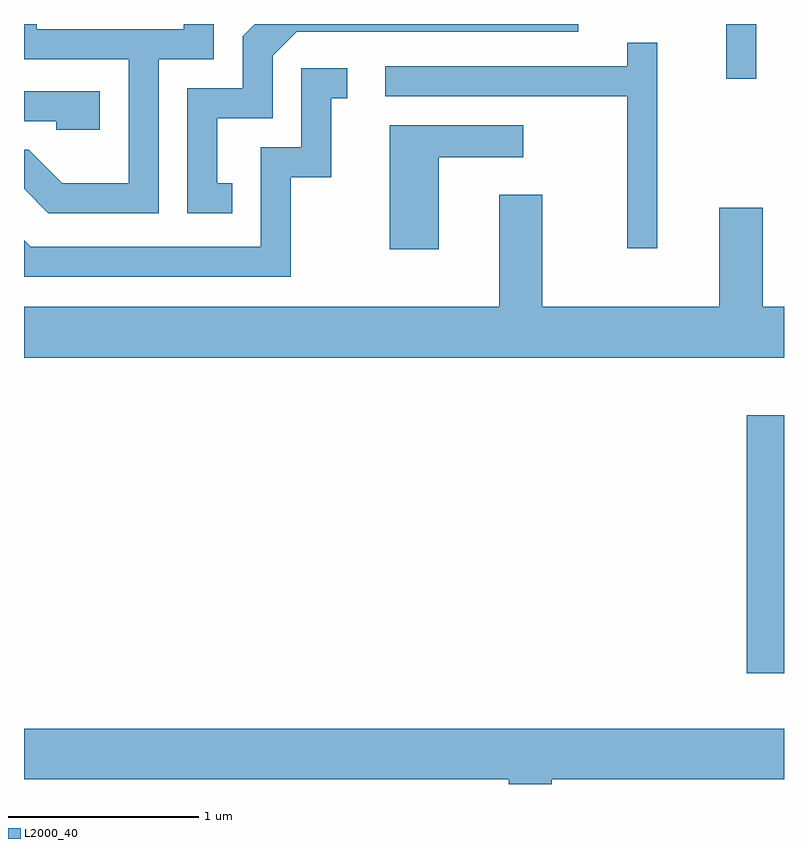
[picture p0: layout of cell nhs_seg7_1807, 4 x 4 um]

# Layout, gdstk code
import gdstk
lib = gdstk.Library(unit=1e-6, precision=1e-09)
def R(c, l, rs):  # rectangles x0, y0, x1, y1
    for r in rs: c.add(gdstk.rectangle(r[:2], r[2:], *l))
def P(c, l, *ps):  # polygons
    for p in ps: c.add(gdstk.Polygon(p, *l))
L2000_40 = (2000, 40)

nhs_seg7_1807 = lib.new_cell('nhs_seg7_1807')
R(nhs_seg7_1807, L2000_40, [(243.416,1754.836,243.611,1756.194), (243.306,1757.963,243.464,1758.252)])
P(nhs_seg7_1807, L2000_40, [(240.319,1758.066),(240.609,1758.066),(240.609,1758.252),(240.451,1758.252),(240.451,1758.224),(239.679,1758.224),(239.679,1758.252),(239.611,1758.252),(239.611,1758.066),(240.161,1758.066),(240.161,1757.414),(239.812,1757.414),(239.637,1757.589),(239.611,1757.589),(239.611,1757.384),(239.739,1757.256),(240.319,1757.256)],
  [(240.708,1757.414),(240.629,1757.414),(240.629,1757.756),(240.919,1757.756),(240.919,1758.084),(241.047,1758.211),(242.529,1758.211),(242.529,1758.252),(240.826,1758.252),(240.761,1758.187),(240.761,1757.914),(240.471,1757.914),(240.471,1757.256),(240.708,1757.256)],
  [(242.944,1758.153),(242.786,1758.153),(242.786,1758.029),(241.513,1758.029),(241.513,1757.871),(242.786,1757.871),(242.786,1757.073),(242.944,1757.073)],
  [(241.014,1757.446),(241.229,1757.446),(241.229,1757.861),(241.313,1757.861),(241.313,1758.019),(241.071,1758.019),(241.071,1757.604),(240.856,1757.604),(240.856,1757.079),(239.647,1757.079),(239.611,1757.115),(239.611,1756.921),(241.014,1756.921)],
  [(240.009,1757.899),(239.611,1757.899),(239.611,1757.741),(239.781,1757.741),(239.781,1757.696),(240.009,1757.696)],
  [(241.794,1757.551),(242.238,1757.551),(242.238,1757.719),(241.536,1757.719),(241.536,1757.066),(241.794,1757.066)],
  [(243.611,1756.764),(243.499,1756.764),(243.499,1757.284),(243.271,1757.284),(243.271,1756.764),(242.339,1756.764),(242.339,1757.354),(242.111,1757.354),(242.111,1756.764),(239.611,1756.764),(239.611,1756.496),(243.611,1756.496)],
  [(242.389,1754.276),(243.611,1754.276),(243.611,1754.544),(239.611,1754.544),(239.611,1754.276),(242.161,1754.276),(242.161,1754.252),(242.389,1754.252)])

lib.write_gds('nhs_seg7_1807.gds')
